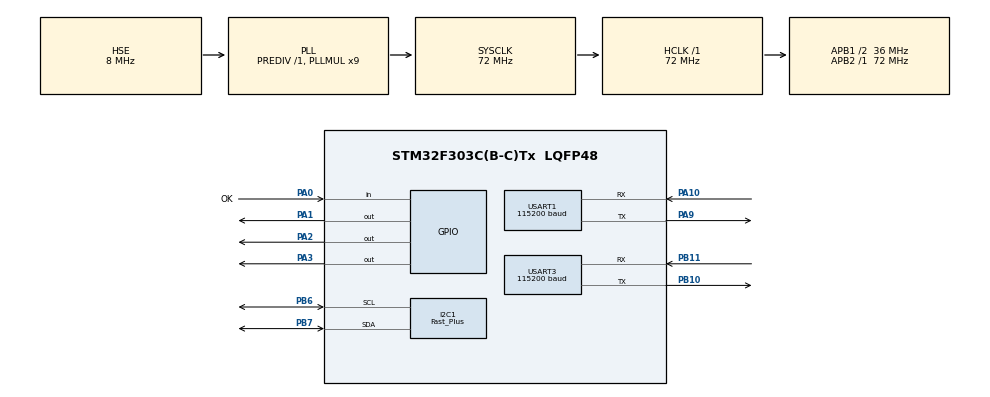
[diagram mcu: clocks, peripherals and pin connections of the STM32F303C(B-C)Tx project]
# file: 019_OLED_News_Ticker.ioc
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Dma.Request0=USART3_RX
Dma.USART3_RX.0.Direction=DMA_PERIPH_TO_MEMORY
Dma.USART3_RX.0.Instance=DMA1_Channel3
Dma.USART3_RX.0.MemDataAlignment=DMA_MDATAALIGN_BYTE
Dma.USART3_RX.0.MemInc=DMA_MINC_ENABLE
Dma.USART3_RX.0.Mode=DMA_NORMAL
Dma.USART3_RX.0.PeriphDataAlignment=DMA_PDATAALIGN_BYTE
Dma.USART3_RX.0.PeriphInc=DMA_PINC_DISABLE
Dma.USART3_RX.0.Priority=DMA_PRIORITY_LOW
I2C1.I2C_Speed_Mode=I2C_Fast_Plus
I2C1.Timing=0x00100001
Mcu.Family=STM32F3
Mcu.Name=STM32F303C(B-C)Tx
Mcu.Package=LQFP48
NVIC.DMA1_Channel3_IRQn=true\:0\:0\:false\:false\:true\:false\:true\:true
NVIC.PriorityGroup=NVIC_PRIORITYGROUP_4
NVIC.USART1_IRQn=true\:0\:0\:false\:false\:true\:true\:true\:true
NVIC.USART3_IRQn=true\:0\:0\:false\:false\:true\:true\:true\:true
PA0.GPIO_Label=OK
PA0.Signal=GPIO_Input
PA1.Signal=GPIO_Output
PA10.Mode=Asynchronous
PA10.Signal=USART1_RX
PA13.Mode=Trace_Asynchronous_SW
PA13.Signal=SYS_JTMS-SWDIO
PA14.Mode=Trace_Asynchronous_SW
PA14.Signal=SYS_JTCK-SWCLK
PA2.Signal=GPIO_Output
PA3.Signal=GPIO_Output
PA9.Mode=Asynchronous
PA9.Signal=USART1_TX
PB10.Mode=Asynchronous
PB10.Signal=USART3_TX
PB11.Mode=Asynchronous
PB11.Signal=USART3_RX
PB3.Mode=Trace_Asynchronous_SW
PB3.Signal=SYS_JTDO-TRACESWO
PB6.Mode=I2C
PB6.Signal=I2C1_SCL
PB7.Mode=I2C
PB7.Signal=I2C1_SDA
PF0-OSC_IN.Mode=HSE-External-Oscillator
PF0-OSC_IN.Signal=RCC_OSC_IN
PF1-OSC_OUT.Mode=HSE-External-Oscillator
PF1-OSC_OUT.Signal=RCC_OSC_OUT
ProjectManager.HeapSize=0x400
ProjectManager.StackSize=0x800
ProjectManager.TargetToolchain=STM32CubeIDE
RCC.AHBFreq_Value=72000000
RCC.APB1CLKDivider=RCC_HCLK_DIV2
RCC.APB1Freq_Value=36000000
RCC.APB1TimFreq_Value=72000000
RCC.APB2Freq_Value=72000000
RCC.APB2TimFreq_Value=72000000
RCC.CortexFreq_Value=72000000
RCC.HCLKFreq_Value=72000000
RCC.HSE_VALUE=8000000
RCC.HSI_VALUE=8000000
RCC.LSE_VALUE=32768
RCC.PLLMUL=RCC_PLL_MUL9
RCC.PLLSourceVirtual=RCC_PLLSOURCE_HSE
RCC.SYSCLKFreq_VALUE=72000000
RCC.SYSCLKSourceVirtual=RCC_SYSCLKSOURCE_PLLCLK
RCC.USBFreq_Value=72000000
RCC.Usart3ClockSelection=RCC_USART3CLKSOURCE_SYSCLK
USART1.BaudRate=115200
USART1.VirtualMode-Asynchronous=VM_ASYNC
USART3.BaudRate=115200
USART3.VirtualMode-Asynchronous=VM_ASYNC
board=custom

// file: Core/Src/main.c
/* USER CODE BEGIN Header */
/**
  ******************************************************************************
  * @file           : main.c
  * @brief          : Main program body
  ******************************************************************************
  * @attention
  *
  * Copyright (c) 2024 STMicroelectronics.
  * All rights reserved.
  *
  * This software is licensed under terms that can be found in the LICENSE file
  * in the root directory of this software component.
  * If no LICENSE file comes with this software, it is provided AS-IS.
  *
  ******************************************************************************
  */
/* USER CODE END Header */
#include "main.h"

/* USER CODE BEGIN Includes */
#include "sh1106.h"
#include "esp8266.h"
#include "fonts.h"
#include "app.h"
/* USER CODE END Includes */

I2C_HandleTypeDef hi2c1;

UART_HandleTypeDef huart1;
UART_HandleTypeDef huart3;
DMA_HandleTypeDef hdma_usart3_rx;

/* USER CODE BEGIN PV */
extern UART_HandleTypeDef *wifi_uart_handle;
/* USER CODE END PV */

void SystemClock_Config(void);
static void MX_GPIO_Init(void);
static void MX_DMA_Init(void);
static void MX_USART3_UART_Init(void);
static void MX_USART1_UART_Init(void);
static void MX_I2C1_Init(void);

int main(void)
{

  /* USER CODE BEGIN 1 */
  esp8266_status_t wifi_status;
  sh1106_t oled_status;
  /* USER CODE END 1 */

  /* MCU Configuration--------------------------------------------------------*/

  /* Reset of all peripherals, Initializes the Flash interface and the Systick. */
  HAL_Init();

  /* Configure the system clock */
  SystemClock_Config();

  /* Initialize all configured peripherals */
  MX_GPIO_Init();
  MX_DMA_Init();
  MX_USART3_UART_Init();
  MX_USART1_UART_Init();
  MX_I2C1_Init();
  /* USER CODE BEGIN 2 */
  wifi_uart_handle = &huart3;
  wifi_status = esp8266_init();

  if (wifi_status != ESP8266_OK){
    Error_Handler();
  }

  /* Keep attempting to connect to the specified Wi-Fi access point until successful */
  while(esp8266_joint_ap((uint8_t *)WIFI_SSID, (uint8_t *)WIFI_PASSWORD) != ESP8266_OK);

  oled_status = sh1106_init(&hi2c1);
  if ( oled_status != SH1106_OK) {
    HAL_GPIO_WritePin(GPIOA, GPIO_PIN_1, GPIO_PIN_SET);
    Error_Handler();
  }

  update_home_page();
  /* USER CODE END 2 */

  /* Infinite loop */
  while (1)
  {

    /* USER CODE BEGIN 3 */
    main_app();
  }
  /* USER CODE END 3 */
}

void SystemClock_Config(void)
{
  RCC_OscInitTypeDef RCC_OscInitStruct = {0};
  RCC_ClkInitTypeDef RCC_ClkInitStruct = {0};
  RCC_PeriphCLKInitTypeDef PeriphClkInit = {0};

  /** Initializes the RCC Oscillators according to the specified parameters
  * in the RCC_OscInitTypeDef structure.
  */
  RCC_OscInitStruct.OscillatorType = RCC_OSCILLATORTYPE_HSI|RCC_OSCILLATORTYPE_HSE;
  RCC_OscInitStruct.HSEState = RCC_HSE_ON;
  RCC_OscInitStruct.HSEPredivValue = RCC_HSE_PREDIV_DIV1;
  RCC_OscInitStruct.HSIState = RCC_HSI_ON;
  RCC_OscInitStruct.HSICalibrationValue = RCC_HSICALIBRATION_DEFAULT;
  RCC_OscInitStruct.PLL.PLLState = RCC_PLL_ON;
  RCC_OscInitStruct.PLL.PLLSource = RCC_PLLSOURCE_HSE;
  RCC_OscInitStruct.PLL.PLLMUL = RCC_PLL_MUL9;
  if (HAL_RCC_OscConfig(&RCC_OscInitStruct) != HAL_OK)
  {
    Error_Handler();
  }

  /** Initializes the CPU, AHB and APB buses clocks
  */
  RCC_ClkInitStruct.ClockType = RCC_CLOCKTYPE_HCLK|RCC_CLOCKTYPE_SYSCLK
                              |RCC_CLOCKTYPE_PCLK1|RCC_CLOCKTYPE_PCLK2;
  RCC_ClkInitStruct.SYSCLKSource = RCC_SYSCLKSOURCE_PLLCLK;
  RCC_ClkInitStruct.AHBCLKDivider = RCC_SYSCLK_DIV1;
  RCC_ClkInitStruct.APB1CLKDivider = RCC_HCLK_DIV2;
  RCC_ClkInitStruct.APB2CLKDivider = RCC_HCLK_DIV1;

  if (HAL_RCC_ClockConfig(&RCC_ClkInitStruct, FLASH_LATENCY_2) != HAL_OK)
  {
    Error_Handler();
  }
  PeriphClkInit.PeriphClockSelection = RCC_PERIPHCLK_USART1|RCC_PERIPHCLK_USART3
                              |RCC_PERIPHCLK_I2C1;
  PeriphClkInit.Usart1ClockSelection = RCC_USART1CLKSOURCE_PCLK2;
  PeriphClkInit.Usart3ClockSelection = RCC_USART3CLKSOURCE_SYSCLK;
  PeriphClkInit.I2c1ClockSelection = RCC_I2C1CLKSOURCE_HSI;
  if (HAL_RCCEx_PeriphCLKConfig(&PeriphClkInit) != HAL_OK)
  {
    Error_Handler();
  }
}

static void MX_I2C1_Init(void)
{

  hi2c1.Instance = I2C1;
  hi2c1.Init.Timing = 0x00100001;
  hi2c1.Init.OwnAddress1 = 0;
  hi2c1.Init.AddressingMode = I2C_ADDRESSINGMODE_7BIT;
  hi2c1.Init.DualAddressMode = I2C_DUALADDRESS_DISABLE;
  hi2c1.Init.OwnAddress2 = 0;
  hi2c1.Init.OwnAddress2Masks = I2C_OA2_NOMASK;
  hi2c1.Init.GeneralCallMode = I2C_GENERALCALL_DISABLE;
  hi2c1.Init.NoStretchMode = I2C_NOSTRETCH_DISABLE;
  if (HAL_I2C_Init(&hi2c1) != HAL_OK)
  {
    Error_Handler();
  }

  /** Configure Analogue filter
  */
  if (HAL_I2CEx_ConfigAnalogFilter(&hi2c1, I2C_ANALOGFILTER_ENABLE) != HAL_OK)
  {
    Error_Handler();
  }

  /** Configure Digital filter
  */
  if (HAL_I2CEx_ConfigDigitalFilter(&hi2c1, 0) != HAL_OK)
  {
    Error_Handler();
  }

  /** I2C Fast mode Plus enable
  */
  __HAL_SYSCFG_FASTMODEPLUS_ENABLE(I2C_FASTMODEPLUS_I2C1);

}

static void MX_USART1_UART_Init(void)
{

  huart1.Instance = USART1;
  huart1.Init.BaudRate = 115200;
  huart1.Init.WordLength = UART_WORDLENGTH_8B;
  huart1.Init.StopBits = UART_STOPBITS_1;
  huart1.Init.Parity = UART_PARITY_NONE;
  huart1.Init.Mode = UART_MODE_TX_RX;
  huart1.Init.HwFlowCtl = UART_HWCONTROL_NONE;
  huart1.Init.OverSampling = UART_OVERSAMPLING_16;
  huart1.Init.OneBitSampling = UART_ONE_BIT_SAMPLE_DISABLE;
  huart1.AdvancedInit.AdvFeatureInit = UART_ADVFEATURE_NO_INIT;
  if (HAL_UART_Init(&huart1) != HAL_OK)
  {
    Error_Handler();
  }

}

static void MX_USART3_UART_Init(void)
{

  huart3.Instance = USART3;
  huart3.Init.BaudRate = 115200;
  huart3.Init.WordLength = UART_WORDLENGTH_8B;
  huart3.Init.StopBits = UART_STOPBITS_1;
  huart3.Init.Parity = UART_PARITY_NONE;
  huart3.Init.Mode = UART_MODE_TX_RX;
  huart3.Init.HwFlowCtl = UART_HWCONTROL_NONE;
  huart3.Init.OverSampling = UART_OVERSAMPLING_16;
  huart3.Init.OneBitSampling = UART_ONE_BIT_SAMPLE_DISABLE;
  huart3.AdvancedInit.AdvFeatureInit = UART_ADVFEATURE_NO_INIT;
  if (HAL_UART_Init(&huart3) != HAL_OK)
  {
    Error_Handler();
  }

}

static void MX_DMA_Init(void)
{

  /* DMA controller clock enable */
  __HAL_RCC_DMA1_CLK_ENABLE();

  /* DMA interrupt init */
  /* DMA1_Channel3_IRQn interrupt configuration */
  HAL_NVIC_SetPriority(DMA1_Channel3_IRQn, 0, 0);
  HAL_NVIC_EnableIRQ(DMA1_Channel3_IRQn);

}

static void MX_GPIO_Init(void)
{
  GPIO_InitTypeDef GPIO_InitStruct = {0};

  /* GPIO Ports Clock Enable */
  __HAL_RCC_GPIOF_CLK_ENABLE();
  __HAL_RCC_GPIOA_CLK_ENABLE();
  __HAL_RCC_GPIOB_CLK_ENABLE();

  /*Configure GPIO pin Output Level */
  HAL_GPIO_WritePin(GPIOA, GPIO_PIN_1|GPIO_PIN_2|GPIO_PIN_3, GPIO_PIN_RESET);

  /*Configure GPIO pin : OK_Pin */
  GPIO_InitStruct.Pin = OK_Pin;
  GPIO_InitStruct.Mode = GPIO_MODE_INPUT;
  GPIO_InitStruct.Pull = GPIO_NOPULL;
  HAL_GPIO_Init(OK_GPIO_Port, &GPIO_InitStruct);

  /*Configure GPIO pins : PA1 PA2 PA3 */
  GPIO_InitStruct.Pin = GPIO_PIN_1|GPIO_PIN_2|GPIO_PIN_3;
  GPIO_InitStruct.Mode = GPIO_MODE_OUTPUT_PP;
  GPIO_InitStruct.Pull = GPIO_NOPULL;
  GPIO_InitStruct.Speed = GPIO_SPEED_FREQ_LOW;
  HAL_GPIO_Init(GPIOA, &GPIO_InitStruct);

}

void Error_Handler(void)
{
  __disable_irq();
  while (1)
  {
  }
}
